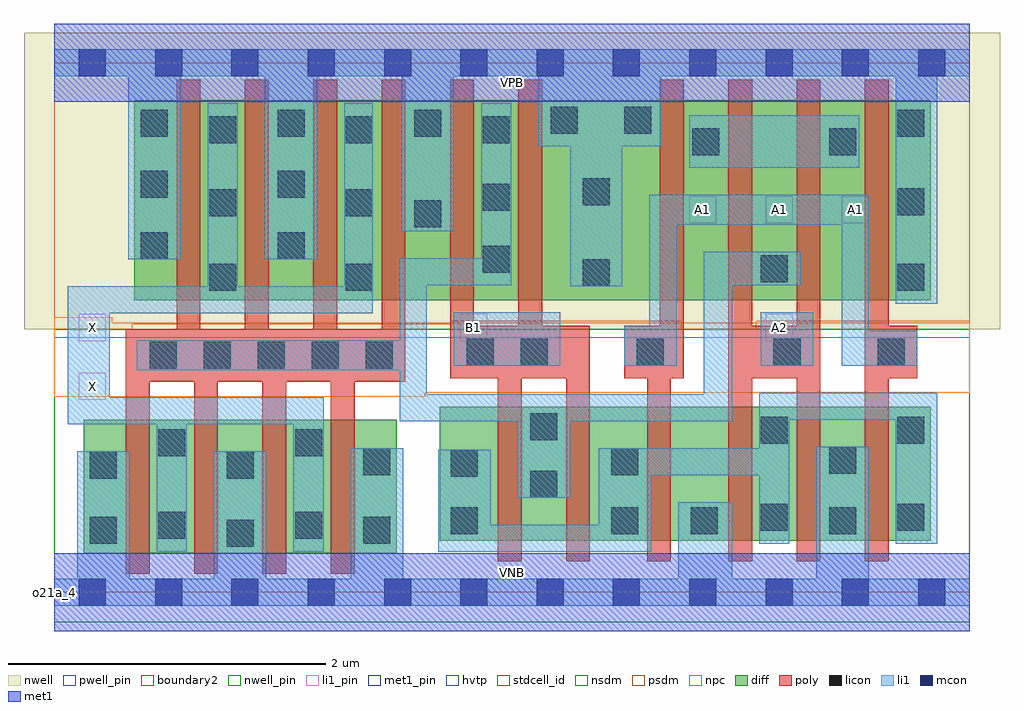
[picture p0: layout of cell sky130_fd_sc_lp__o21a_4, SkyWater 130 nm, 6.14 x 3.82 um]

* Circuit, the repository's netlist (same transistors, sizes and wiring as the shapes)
* Copyright 2020 The SkyWater PDK Authors
*
* Licensed under the Apache License, Version 2.0 (the "License");
* you may not use this file except in compliance with the License.
* You may obtain a copy of the License at
*
*     https://www.apache.org/licenses/LICENSE-2.0
*
* Unless required by applicable law or agreed to in writing, software
* distributed under the License is distributed on an "AS IS" BASIS,
* WITHOUT WARRANTIES OR CONDITIONS OF ANY KIND, either express or implied.
* See the License for the specific language governing permissions and
* limitations under the License.
*
* SPDX-License-Identifier: Apache-2.0

.SUBCKT sky130_fd_sc_lp__o21a_4 A1 A2 B1 VGND VNB VPB VPWR X
*.PININFO A1:I A2:I B1:I VGND:I VNB:I VPB:I VPWR:I X:O
MMPA0 VPWR A1 sndA1 VPB sky130_fd_pr__pfet_01v8_hvt m=2 w=1.26U l=0.15U mult=1
+ sa=0.265 sb=0.265 sd=0.28 area=0.063 perim=1.14
MMPA1 sndA1 A2 y VPB sky130_fd_pr__pfet_01v8_hvt m=2 w=1.26U l=0.15U mult=1 sa=0.265
+ sb=0.265 sd=0.28 area=0.063 perim=1.14
MMPB0 VPWR B1 y VPB sky130_fd_pr__pfet_01v8_hvt m=2 w=1.26U l=0.15U mult=1 sa=0.265
+ sb=0.265 sd=0.28 area=0.063 perim=1.14
MMIPX X y VPWR VPB sky130_fd_pr__pfet_01v8_hvt m=4 w=1.26U l=0.15U mult=1 sa=0.265
+ sb=0.265 sd=0.28 area=0.063 perim=1.14
MMNA0 pndA A1 VGND VNB sky130_fd_pr__nfet_01v8 m=2 w=0.84U l=0.15U mult=1 sa=0.265
+ sb=0.265 sd=0.28 area=0.063 perim=1.14
MMNA1 pndA A2 VGND VNB sky130_fd_pr__nfet_01v8 m=2 w=0.84U l=0.15U mult=1 sa=0.265
+ sb=0.265 sd=0.28 area=0.063 perim=1.14
MMNB0 y B1 pndA VNB sky130_fd_pr__nfet_01v8 m=2 w=0.84U l=0.15U mult=1 sa=0.265
+ sb=0.265 sd=0.28 area=0.063 perim=1.14
MMINX X y VGND VNB sky130_fd_pr__nfet_01v8 m=4 w=0.84U l=0.15U mult=1 sa=0.265
+ sb=0.265 sd=0.28 area=0.063 perim=1.14
.ENDS sky130_fd_sc_lp__o21a_4

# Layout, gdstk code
import gdstk
lib = gdstk.Library(unit=1e-6, precision=1e-09)
def R(c, l, rs):  # rectangles x0, y0, x1, y1
    for r in rs: c.add(gdstk.rectangle(r[:2], r[2:], *l))
def A(c, l, x, y, w, h, nx, ny, dx, dy):  # array of equal rectangles
    R(c, l, [(x+i*dx, y+j*dy, x+i*dx+w, y+j*dy+h) for i in range(nx) for j in range(ny)])
def P(c, l, *ps):  # polygons
    for p in ps: c.add(gdstk.Polygon(p, *l))
nwell_pin = (64, 16)
nwell = (64, 20)
diff = (65, 20)
poly = (66, 20)
licon = (66, 44)
li1_pin = (67, 16)
li1 = (67, 20)
mcon = (67, 44)
met1_pin = (68, 16)
met1 = (68, 20)
hvtp = (78, 44)
stdcell_id = (81, 4)
nsdm = (93, 44)
psdm = (94, 20)
npc = (95, 20)
pwell_pin = (122, 16)
boundary2 = (236, 0)

sky130_fd_sc_lp__o21a_4 = lib.new_cell('sky130_fd_sc_lp__o21a_4')
R(sky130_fd_sc_lp__o21a_4, nwell_pin, [(0,3.085,5.76,3.33)])
R(sky130_fd_sc_lp__o21a_4, nwell, [(-0.19,1.655,5.95,3.52)])
R(sky130_fd_sc_lp__o21a_4, diff, [(0.185,0.245,2.155,1.085), (2.425,0.325,5.515,1.165), (0.505,1.835,5.515,3.095)])
P(sky130_fd_sc_lp__o21a_4, poly, [(2.21,3.225),(2.06,3.225),(2.06,1.655),(1.78,1.655),(1.78,3.225),(1.63,3.225),(1.63,1.655),(1.35,1.655),(1.35,3.225),(1.2,3.225),(1.2,1.655),(0.92,1.655),(0.92,3.225),(0.77,3.225),(0.77,1.655),(0.45,1.655),(0.45,0.115),(0.6,0.115),(0.6,1.325),(0.88,1.325),(0.88,0.115),(1.03,0.115),(1.03,1.325),(1.31,1.325),(1.31,0.115),(1.46,0.115),(1.46,1.325),(1.74,1.325),(1.74,0.115),(1.89,0.115),(1.89,1.325),(2.21,1.325)],
  [(3.37,1.675),(3.07,1.675),(3.07,3.225),(2.92,3.225),(2.92,1.675),(2.64,1.675),(2.64,3.225),(2.49,3.225),(2.49,1.345),(2.79,1.345),(2.79,0.195),(2.94,0.195),(2.94,1.345),(3.22,1.345),(3.22,0.195),(3.37,0.195)],
  [(3.96,3.225),(3.81,3.225),(3.81,1.675),(3.585,1.675),(3.585,1.345),(3.73,1.345),(3.73,0.195),(3.88,0.195),(3.88,1.345),(3.96,1.345)],
  [(4.82,3.225),(4.67,3.225),(4.67,1.675),(4.39,1.675),(4.39,3.225),(4.24,3.225),(4.24,0.195),(4.39,0.195),(4.39,1.345),(4.67,1.345),(4.67,0.195),(4.82,0.195)],
  [(5.43,1.675),(5.25,1.675),(5.25,3.225),(5.1,3.225),(5.1,0.195),(5.25,0.195),(5.25,1.345),(5.43,1.345)])
A(sky130_fd_sc_lp__o21a_4, licon, 0.6, 1.405, 0.17, 0.17, 5, 1, 0.34, 0)
A(sky130_fd_sc_lp__o21a_4, licon, 0.975, 2.825, 0.17, 0.17, 3, 1, 0.86, 0)
A(sky130_fd_sc_lp__o21a_4, licon, 0.545, 2.865, 0.17, 0.17, 3, 1, 0.86, 0)
R(sky130_fd_sc_lp__o21a_4, licon, [(1.085,0.285,1.255,0.455), (0.225,0.305,0.395,0.475), (1.945,0.305,2.115,0.475), (0.655,0.335,0.825,0.505), (1.515,0.335,1.685,0.505), (2.495,0.365,2.665,0.535), (3.505,0.365,3.675,0.535), (4.005,0.365,4.175,0.535), (4.875,0.365,5.045,0.535), (4.445,0.385,4.615,0.555), (5.305,0.385,5.475,0.555), (2.995,0.595,3.165,0.765), (0.225,0.715,0.395,0.885), (1.085,0.715,1.255,0.885), (2.495,0.725,2.665,0.895), (1.945,0.735,2.115,0.905), (3.505,0.735,3.675,0.905), (4.875,0.745,5.045,0.915), (0.655,0.855,0.825,1.025), (1.515,0.855,1.685,1.025), (4.445,0.935,4.615,1.105), (5.305,0.935,5.475,1.105), (2.995,0.955,3.165,1.125), (2.595,1.425,2.765,1.595), (2.935,1.425,3.105,1.595), (3.665,1.425,3.835,1.595), (4.525,1.425,4.695,1.595), (5.18,1.425,5.35,1.595), (0.975,1.895,1.145,2.065), (1.835,1.895,2.005,2.065), (5.305,1.895,5.475,2.065), (3.325,1.925,3.495,2.095), (4.445,1.95,4.615,2.12), (2.695,2.01,2.865,2.18), (0.545,2.095,0.715,2.265), (1.405,2.095,1.575,2.265), (2.265,2.295,2.435,2.465), (0.975,2.365,1.145,2.535), (1.835,2.365,2.005,2.535), (5.305,2.37,5.475,2.54), (2.695,2.4,2.865,2.57), (3.325,2.435,3.495,2.605), (0.545,2.48,0.715,2.65), (1.405,2.48,1.575,2.65), (4.015,2.75,4.185,2.92), (4.875,2.75,5.045,2.92), (5.305,2.865,5.475,3.035), (3.125,2.885,3.295,3.055), (3.585,2.885,3.755,3.055)])
A(sky130_fd_sc_lp__o21a_4, li1_pin, 3.995, 2.32, 0.17, 0.17, 3, 1, 0.48, 0)
R(sky130_fd_sc_lp__o21a_4, li1_pin, [(0.155,1.21,0.325,1.38), (0.155,1.58,0.325,1.75), (2.555,1.58,2.725,1.75), (4.475,1.58,4.645,1.75)])
R(sky130_fd_sc_lp__o21a_4, li1, [(2.515,1.425,3.185,1.76), (4.445,1.425,4.775,1.76), (3.995,2.67,5.065,3)])
P(sky130_fd_sc_lp__o21a_4, li1, [(2.005,3.075),(1.825,3.075),(1.825,1.925),(1.155,1.925),(1.155,3.075),(0.965,3.075),(0.965,1.925),(0.085,1.925),(0.085,1.055),(0.645,1.055),(0.645,0.255),(0.835,0.255),(0.835,1.055),(1.505,1.055),(1.505,0.255),(1.695,0.255),(1.695,1.225),(0.35,1.225),(0.35,1.755),(2.005,1.755)],
  [(5.76,3.415),(0,3.415),(0,3.245),(0.465,3.245),(0.465,2.095),(0.795,2.095),(0.795,3.245),(1.325,3.245),(1.325,2.095),(1.655,2.095),(1.655,3.245),(2.185,3.245),(2.185,2.27),(2.515,2.27),(2.515,3.245),(3.045,3.245),(3.045,2.805),(3.245,2.805),(3.245,1.925),(3.575,1.925),(3.575,2.805),(3.815,2.805),(3.815,3.245),(5.295,3.245),(5.295,1.815),(5.555,1.815),(5.555,3.245),(5.76,3.245)],
  [(4.695,2.14),(4.085,2.14),(4.085,1.245),(2.345,1.245),(2.345,1.93),(2.875,1.93),(2.875,3.075),(2.685,3.075),(2.685,2.1),(2.175,2.1),(2.175,1.585),(0.52,1.585),(0.52,1.395),(2.175,1.395),(2.175,1.075),(2.915,1.075),(2.915,0.595),(3.245,0.595),(3.245,1.075),(4.265,1.075),(4.265,1.93),(4.695,1.93)],
  [(5.76,0.085),(5.125,0.085),(5.125,0.915),(4.795,0.915),(4.795,0.085),(4.265,0.085),(4.265,0.565),(3.925,0.565),(3.925,0.085),(2.195,0.085),(2.195,0.905),(1.865,0.905),(1.865,0.085),(1.335,0.085),(1.335,0.885),(1.005,0.885),(1.005,0.085),(0.475,0.085),(0.475,0.885),(0.145,0.885),(0.145,0.085),(0,0.085),(0,-0.085),(5.76,-0.085)],
  [(5.555,1.255),(4.435,1.255),(4.435,0.905),(3.425,0.905),(3.425,0.425),(2.745,0.425),(2.745,0.895),(2.415,0.895),(2.415,0.255),(3.755,0.255),(3.755,0.735),(4.435,0.735),(4.435,0.305),(4.625,0.305),(4.625,1.085),(5.295,1.085),(5.295,0.305),(5.555,0.305)],
  [(5.43,1.645),(5.125,1.645),(5.125,2.5),(3.745,2.5),(3.745,1.675),(3.585,1.675),(3.585,1.425),(3.915,1.425),(3.915,2.31),(4.955,2.31),(4.955,1.425),(5.43,1.425)])
A(sky130_fd_sc_lp__o21a_4, mcon, 0.155, -0.085, 0.17, 0.17, 12, 2, 0.48, 3.33)
R(sky130_fd_sc_lp__o21a_4, met1_pin, [(0,0,5.76,0.245), (0,3.085,5.76,3.33)])
R(sky130_fd_sc_lp__o21a_4, met1, [(0,-0.245,5.76,0.245), (0,3.085,5.76,3.575)])
R(sky130_fd_sc_lp__o21a_4, hvtp, [(0,1.6,5.76,3.33)])
R(sky130_fd_sc_lp__o21a_4, stdcell_id, [(0,0,5.76,3.33)])
R(sky130_fd_sc_lp__o21a_4, nsdm, [(0,-0.19,5.76,1.655)])
P(sky130_fd_sc_lp__o21a_4, psdm, [(5.76,3.52),(0,3.52),(0,1.655),(0.49,1.655),(0.49,1.685),(2.505,1.685),(2.505,1.705),(3.945,1.705),(3.945,1.655),(4.415,1.655),(4.415,1.705),(5.76,1.705)])
P(sky130_fd_sc_lp__o21a_4, npc, [(5.76,1.695),(0.365,1.695),(0.365,1.73),(0,1.73),(0,1.23),(2.335,1.23),(2.335,1.255),(5.76,1.255)])
R(sky130_fd_sc_lp__o21a_4, pwell_pin, [(0,0,5.76,0.245)])
R(sky130_fd_sc_lp__o21a_4, boundary2, [(0,0,5.76,3.33)])
sky130_fd_sc_lp__o21a_4.add(gdstk.Label('VNB', (2.88,0.123), layer=64, texttype=59))
sky130_fd_sc_lp__o21a_4.add(gdstk.Label('VPB', (2.88,3.208), layer=64, texttype=5))
sky130_fd_sc_lp__o21a_4.add(gdstk.Label('o21a_4', (0,0), layer=83, texttype=44))
sky130_fd_sc_lp__o21a_4.add(gdstk.Label('VPWR', (2.88,3.208), layer=68, texttype=5))
sky130_fd_sc_lp__o21a_4.add(gdstk.Label('VGND', (2.88,0.123), layer=68, texttype=5))
sky130_fd_sc_lp__o21a_4.add(gdstk.Label('A1', (4.08,2.405), layer=67, texttype=5))
sky130_fd_sc_lp__o21a_4.add(gdstk.Label('A1', (4.56,2.405), layer=67, texttype=5))
sky130_fd_sc_lp__o21a_4.add(gdstk.Label('A1', (5.04,2.405), layer=67, texttype=5))
sky130_fd_sc_lp__o21a_4.add(gdstk.Label('A2', (4.56,1.665), layer=67, texttype=5))
sky130_fd_sc_lp__o21a_4.add(gdstk.Label('B1', (2.64,1.665), layer=67, texttype=5))
sky130_fd_sc_lp__o21a_4.add(gdstk.Label('X', (0.24,1.295), layer=67, texttype=5))
sky130_fd_sc_lp__o21a_4.add(gdstk.Label('X', (0.24,1.665), layer=67, texttype=5))

lib.write_gds('sky130_fd_sc_lp__o21a_4.gds')
